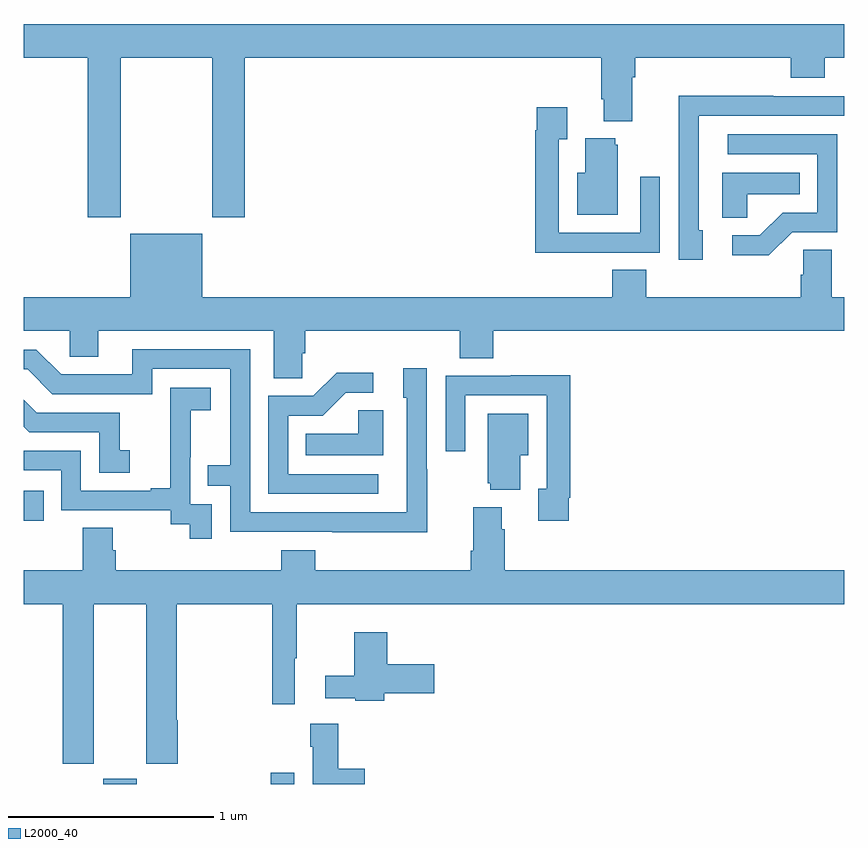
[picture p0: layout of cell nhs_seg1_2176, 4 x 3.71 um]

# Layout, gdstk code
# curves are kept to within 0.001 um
import gdstk
lib = gdstk.Library(unit=1e-6, precision=1e-09)
def R(c, l, rs):  # rectangles x0, y0, x1, y1
    for r in rs: c.add(gdstk.rectangle(r[:2], r[2:], *l))
def P(c, l, *ps):  # polygons
    for p in ps: c.add(gdstk.Polygon(p, *l))
L2000_40 = (2000, 40)

nhs_seg1_2176 = lib.new_cell('nhs_seg1_2176')
R(nhs_seg1_2176, L2000_40, [(229.388,540.199,229.552,540.225), (230.203,540.199,230.319,540.253), (229,541.482,229.097,541.629)])
P(nhs_seg1_2176, L2000_40, [(229.473,543.74),(229.918,543.74),(229.918,542.961),(230.078,542.961),(230.078,543.74),(231.815,543.74),(231.815,543.538),(231.827,543.538),(231.827,543.431),(231.967,543.431),(231.967,543.644),(231.98,543.644),(231.98,543.74),(232.739,543.74),(232.739,543.641),(232.904,543.641),(232.904,543.74),(233,543.74),(233,543.904),(229,543.904),(229,543.74),(229.313,543.74),(229.313,542.961),(229.473,542.961)],
  [(232.309,542.898),(232.29,542.898),(232.29,543.456),(233,543.456),(233,543.552),(232.655,543.552),(232.655,543.554),(232.192,543.554),(232.192,543.247),(232.194,543.247),(232.194,542.754),(232.309,542.754)],
  [(231.785,542.79),(232.101,542.79),(232.101,543.16),(232.005,543.16),(232.005,542.886),(231.609,542.886),(231.609,543.343),(231.649,543.343),(231.649,543.499),(231.501,543.499),(231.501,543.386),(231.493,543.386),(231.493,542.789),(231.785,542.789)],
  [(232.746,542.889),(232.965,542.889),(232.965,543.366),(232.431,543.366),(232.431,543.27),(232.869,543.27),(232.869,542.985),(232.7,542.985),(232.589,542.874),(232.455,542.874),(232.455,542.777),(232.633,542.777)],
  [(231.895,543.315),(231.884,543.315),(231.884,543.346),(231.737,543.346),(231.737,543.178),(231.698,543.178),(231.698,542.975),(231.895,542.975)],
  [(232.527,543.074),(232.784,543.074),(232.784,543.178),(232.406,543.178),(232.406,542.959),(232.527,542.959)],
  [(230.358,542.299),(230.372,542.299),(230.372,542.408),(231.125,542.408),(231.125,542.275),(231.29,542.275),(231.29,542.408),(233,542.408),(233,542.572),(232.939,542.572),(232.939,542.804),(232.8,542.804),(232.8,542.681),(232.787,542.681),(232.787,542.572),(232.034,542.572),(232.034,542.705),(231.869,542.705),(231.869,542.572),(229.87,542.572),(229.87,542.881),(229.52,542.881),(229.52,542.572),(229,542.572),(229,542.408),(229.224,542.408),(229.224,542.281),(229.363,542.281),(229.363,542.408),(230.219,542.408),(230.219,542.176),(230.358,542.176)],
  [(230.967,541.733),(230.964,541.733),(230.964,542.227),(230.849,542.227),(230.849,542.082),(230.868,542.082),(230.868,541.524),(230.103,541.524),(230.103,542.319),(229.529,542.319),(229.529,542.196),(229.182,542.196),(229.062,542.316),(229,542.316),(229,542.22),(229.02,542.22),(229.14,542.1),(229.626,542.1),(229.626,542.223),(230.007,542.223),(230.007,541.754),(229.897,541.754),(229.897,541.653),(230.007,541.653),(230.007,541.428),(230.967,541.427)],
  [(230.728,541.71),(230.289,541.71),(230.289,541.995),(230.458,541.995),(230.569,542.106),(230.704,542.106),(230.704,542.204),(230.525,542.204),(230.412,542.091),(230.193,542.091),(230.193,541.614),(230.728,541.614)],
  [(231.658,541.594),(231.665,541.594),(231.665,542.192),(231.373,542.192),(231.373,542.19),(231.057,542.19),(231.057,541.821),(231.153,541.821),(231.153,542.094),(231.549,542.094),(231.549,541.638),(231.509,541.638),(231.509,541.482),(231.658,541.482)],
  [(229.917,541.563),(229.812,541.563),(229.812,541.793),(229.814,541.793),(229.814,542.021),(229.912,542.021),(229.912,542.131),(229.714,542.131),(229.714,541.925),(229.715,541.925),(229.715,541.642),(229.619,541.642),(229.619,541.629),(229.278,541.629),(229.278,541.824),(229,541.824),(229,541.728),(229.182,541.728),(229.182,541.533),(229.716,541.533),(229.716,541.465),(229.809,541.465),(229.809,541.395),(229.917,541.395)],
  [(229.516,541.825),(229.467,541.825),(229.467,542.01),(229.063,542.01),(229,542.073),(229,541.94),(229.026,541.914),(229.368,541.914),(229.368,541.716),(229.516,541.716)],
  [(230.752,542.021),(230.631,542.021),(230.631,541.906),(230.374,541.906),(230.374,541.802),(230.752,541.802)],
  [(231.421,541.802),(231.46,541.802),(231.46,542.005),(231.263,542.005),(231.263,541.665),(231.275,541.665),(231.275,541.634),(231.421,541.634)],
  [(229.342,541.076),(229.598,541.076),(229.598,540.297),(229.751,540.297),(229.751,540.509),(229.746,540.509),(229.746,541.076),(230.211,541.076),(230.211,540.588),(230.32,540.588),(230.32,540.811),(230.332,540.811),(230.332,541.076),(233,541.076),(233,541.24),(231.344,541.24),(231.344,541.442),(231.331,541.442),(231.331,541.549),(231.191,541.549),(231.191,541.336),(231.179,541.336),(231.179,541.24),(230.42,541.24),(230.42,541.339),(230.255,541.339),(230.255,541.24),(229.448,541.24),(229.448,541.338),(229.435,541.338),(229.435,541.448),(229.288,541.448),(229.288,541.24),(229,541.24),(229,541.076),(229.19,541.076),(229.19,540.297),(229.342,540.297)],
  [(230.758,540.641),(231.001,540.641),(231.001,540.783),(230.771,540.783),(230.771,540.94),(230.612,540.94),(230.612,540.727),(230.469,540.727),(230.469,540.618),(230.616,540.618),(230.616,540.606),(230.758,540.606)],
  [(230.662,540.274),(230.534,540.274),(230.534,540.493),(230.396,540.493),(230.396,540.38),(230.408,540.38),(230.408,540.199),(230.662,540.199)])

lib.write_gds('nhs_seg1_2176.gds')
